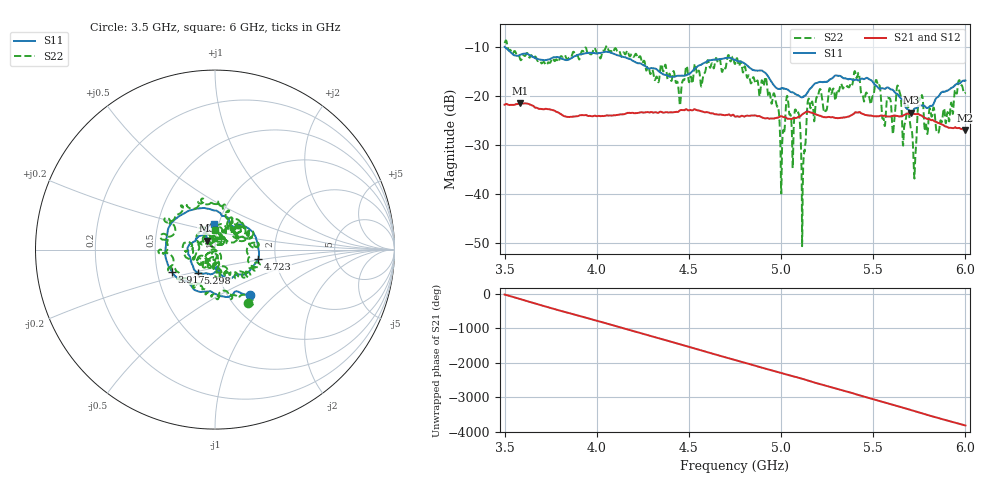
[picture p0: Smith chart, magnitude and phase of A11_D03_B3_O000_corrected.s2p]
! Created with skrf 1.9.0 (http://scikit-rf.org).
# Hz S RI R 50.0
!freq ReS11 ImS11 ReS21 ImS21 ReS12 ImS12 ReS22 ImS22
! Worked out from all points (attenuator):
!   1601 points, 3.5 GHz to 6 GHz, reference 50 ohm
!   highest |S21| = -21.42 dB at 3.584 GHz (marker M1); lowest = -26.9 dB at 5.997 GHz (marker M2)
!   lowest |S11| = -23.4 dB at 5.706 GHz (marker M3), VSWR 1.14, Z = 45.4 + j4.49 ohm
!   |S11| at or under -10 dB: 3.504 GHz to end of sweep
!   |S22| runs from -50.7 to -8.6 dB; largest |S21 - S12| = 0.001
!   S11 on the Smith chart (normalised r, x): 3.5 GHz: 1.27, -0.71; 3.917 GHz: 0.60, -0.16; 4.723 GHz: 1.62, -0.18; 5.298 GHz: 0.80, -0.22; 6 GHz: 0.94, +0.28
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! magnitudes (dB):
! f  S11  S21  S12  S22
! 3.5 GHz  -9.9  -21.7  -21.7  -9.1
! 3.584 GHz  -11.5  -21.4  -21.4  -12.4
! 3.917 GHz  -11.4  -23.9  -23.9  -10.9
! 4.334 GHz  -14.9  -23.4  -23.3  -17.1
! 4.723 GHz  -12.1  -23.9  -23.8  -12.7
! 4.75 GHz  -12.6  -24.2  -24.1  -13.4
! 4.969 GHz  -18.1  -24.5  -24.5  -20.5
! 5.006 GHz  -18.4  -24.2  -24.1  -29.5
! 5.034 GHz  -18.6  -24.6  -24.5  -20.0
! 5.088 GHz  -19.7  -24.4  -24.4  -23.3
! 5.12 GHz  -20.1  -23.6  -23.5  -34.0
! 5.145 GHz  -19.2  -23.1  -23.1  -21.0
! 5.167 GHz  -18.1  -23.4  -23.3  -21.2
! 5.298 GHz  -15.7  -24.5  -24.4  -20.2
! 5.584 GHz  -18.3  -24.2  -24.1  -20.3
! 5.638 GHz  -19.8  -24.1  -24.1  -18.3
! 5.706 GHz  -23.4  -23.7  -23.6  -26.9
! 5.725 GHz  -22.5  -23.6  -23.6  -35.6
! 5.756 GHz  -21.9  -23.9  -23.8  -20.9
! 5.85 GHz  -20.2  -25.4  -25.4  -27.1
! 5.997 GHz  -16.8  -26.9  -26.8  -19.4
! 6 GHz  -16.8  -26.9  -26.8  -19.2
